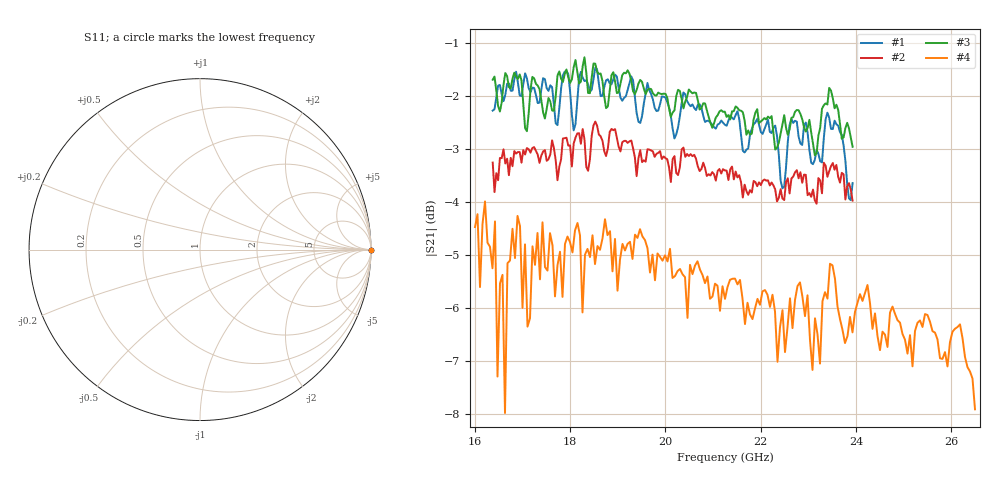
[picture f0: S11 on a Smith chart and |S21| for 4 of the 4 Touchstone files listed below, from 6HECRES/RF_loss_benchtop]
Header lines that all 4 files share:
!Agilent N9918A: A.07.57
!Timezone: (GMT-08:00) Pacific Time (US & Canada)
!Model: N9918A
!Serial: MY53103598
!GPS Latitude:
!GPS Longitude:
!GPS TimeStamp: 0001-01-01 00:00:00Z
!GPS Seconds Since Last Read: 0
!Correction: S11()S21(Rdy)S12()S22()
!S2P File: Measurements:S11,S21,S12,S22:
# Hz S DB R 50
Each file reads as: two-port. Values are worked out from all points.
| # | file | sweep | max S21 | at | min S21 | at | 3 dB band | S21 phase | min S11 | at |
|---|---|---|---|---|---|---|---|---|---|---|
| 1 | HE6-BASELINE2.s2p | 16.37 GHz to 23.93 GHz | -1.46 dB | 18.53 GHz | -4.0 dB | 23.89 GHz | 16.37 GHz-23.93 GHz | -145 deg at 20.15 GHz | 0.0 dB | 16.37 GHz |
| 2 | HE6-EXT-LONG-U.s2p | 16.37 GHz to 23.93 GHz | -2.48 dB | 18.53 GHz | -4.0 dB | 23.17 GHz | 16.37 GHz-23.93 GHz | 18 deg at 20.15 GHz | 0.0 dB | 16.37 GHz |
| 3 | HE6-WAFFLE_0.s2p | 16.37 GHz to 23.93 GHz | -1.26 dB | 18.3 GHz | -3.1 dB | 23.14 GHz | 16.37 GHz-23.93 GHz | 138 deg at 20.15 GHz | 0.0 dB | 16.37 GHz |
| 4 | IN.s2p | 16 GHz to 26.5 GHz | -3.98 dB | 16.21 GHz | -8.0 dB | 16.63 GHz | 16.68 GHz-22.3 GHz | -28 deg at 21.25 GHz | 0.0 dB | 16 GHz |
